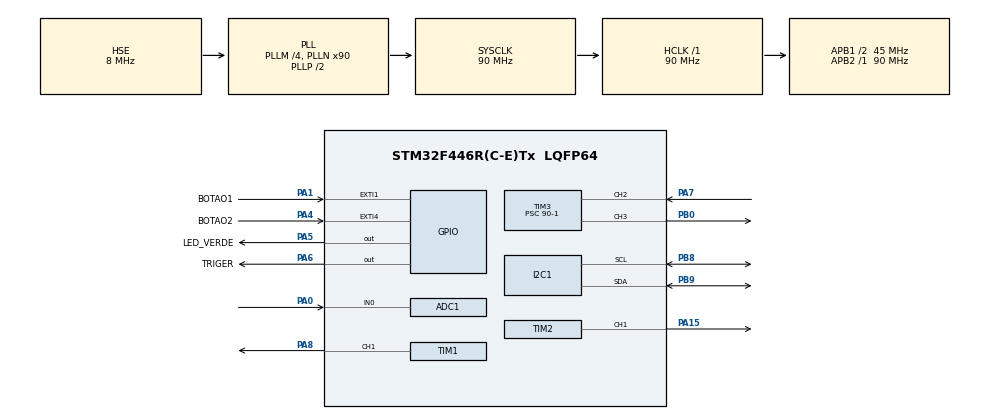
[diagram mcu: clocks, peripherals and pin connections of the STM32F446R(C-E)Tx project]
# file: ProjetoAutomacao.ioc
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ADC1.Channel-0\#ChannelRegularConversion=ADC_CHANNEL_0
ADC1.ContinuousConvMode=ENABLE
ADC1.NbrOfConversionFlag=1
ADC1.Rank-0\#ChannelRegularConversion=1
ADC1.SamplingTime-0\#ChannelRegularConversion=ADC_SAMPLETIME_3CYCLES
ADC1.master=1
I2C1.I2C_Mode=I2C_Fast
Mcu.Family=STM32F4
Mcu.Name=STM32F446R(C-E)Tx
Mcu.Package=LQFP64
NVIC.EXTI1_IRQn=true\:0\:0\:false\:false\:true\:true\:true\:true
NVIC.EXTI4_IRQn=true\:0\:1\:false\:false\:true\:true\:true\:true
NVIC.PriorityGroup=NVIC_PRIORITYGROUP_0
NVIC.RTC_Alarm_IRQn=true\:0\:0\:false\:false\:true\:true\:true\:true
NVIC.TIM2_IRQn=true\:0\:0\:false\:false\:true\:true\:true\:true
NVIC.TIM3_IRQn=true\:0\:0\:false\:false\:true\:true\:true\:true
PA0-WKUP.Signal=ADCx_IN0
PA1.GPIO_Label=BOTAO1
PA1.GPIO_PuPd=GPIO_PULLUP
PA1.Signal=GPXTI1
PA15.Signal=S_TIM2_CH1_ETR
PA4.GPIO_Label=BOTAO2
PA4.GPIO_PuPd=GPIO_PULLUP
PA4.Signal=GPXTI4
PA5.GPIO_Label=LED_VERDE
PA5.Signal=GPIO_Output
PA6.GPIO_Label=TRIGER
PA6.Signal=GPIO_Output
PA7.Signal=S_TIM3_CH2
PA8.Signal=S_TIM1_CH1
PB0.Signal=S_TIM3_CH3
PB8.Mode=I2C
PB8.Signal=I2C1_SCL
PB9.Mode=I2C
PB9.Signal=I2C1_SDA
PC14-OSC32_IN.Mode=LSE-External-Oscillator
PC14-OSC32_IN.Signal=RCC_OSC32_IN
PC15-OSC32_OUT.Mode=LSE-External-Oscillator
PC15-OSC32_OUT.Signal=RCC_OSC32_OUT
PH0-OSC_IN.Mode=HSE-External-Oscillator
PH0-OSC_IN.Signal=RCC_OSC_IN
PH1-OSC_OUT.Mode=HSE-External-Oscillator
PH1-OSC_OUT.Signal=RCC_OSC_OUT
ProjectManager.HeapSize=0x200
ProjectManager.StackSize=0x400
ProjectManager.TargetToolchain=STM32CubeIDE
RCC.48MHZClocksFreq_Value=84000000
RCC.AHBFreq_Value=90000000
RCC.APB1CLKDivider=RCC_HCLK_DIV2
RCC.APB1Freq_Value=45000000
RCC.APB1TimFreq_Value=90000000
RCC.APB2Freq_Value=90000000
RCC.APB2TimFreq_Value=90000000
RCC.CortexFreq_Value=90000000
RCC.FLatency-AdvancedSettings=FLASH_LATENCY_2
RCC.HCLKFreq_Value=90000000
RCC.HSE_VALUE=8000000
RCC.HSI_VALUE=16000000
RCC.PLLM=4
RCC.PLLN=90
RCC.PLLSourceVirtual=RCC_PLLSOURCE_HSE
RCC.RCC_RTC_Clock_SourceVirtual=RCC_RTCCLKSOURCE_LSE
RCC.SYSCLKFreq_VALUE=90000000
RCC.SYSCLKSource=RCC_SYSCLKSOURCE_PLLCLK
RCC.USBFreq_Value=90000000
RCC.VCOOutputFreq_Value=180000000
RTC.Alarm=RTC_ALARM_A
RTC.Date=18
RTC.Format=RTC_FORMAT_BIN
RTC.Hours=19
RTC.Minutes=40
RTC.Month=RTC_MONTH_DECEMBER
RTC.WeekDay=RTC_WEEKDAY_WEDNESDAY
SH.ADCx_IN0.0=ADC1_IN0,IN0
SH.S_TIM1_CH1.0=TIM1_CH1,PWM Generation1 CH1
SH.S_TIM2_CH1_ETR.0=TIM2_CH1,PWM Generation1 CH1
SH.S_TIM3_CH2.0=TIM3_CH2,Input_Capture2_from_TI2
SH.S_TIM3_CH3.0=TIM3_CH3,PWM Generation3 CH3
TIM1.Channel-PWM\ Generation1\ CH1=TIM_CHANNEL_1
TIM1.Period=10000-1
TIM1.Prescaler=180-1
TIM2.Channel-PWM\ Generation1\ CH1=TIM_CHANNEL_1
TIM2.Period=4095
TIM2.Prescaler=90-1
TIM3.Channel-Input_Capture2_from_TI2=TIM_CHANNEL_2
TIM3.Channel-PWM\ Generation3\ CH3=TIM_CHANNEL_3
TIM3.Period=0xffff - 1
TIM3.Prescaler=90-1
TIM3.Pulse-PWM\ Generation3\ CH3=500
VP_RTC_VS_RTC_Activate.Mode=RTC_Enabled
VP_RTC_VS_RTC_Alarm_A_Intern.Mode=Alarm A
VP_RTC_VS_RTC_Calendar.Mode=RTC_Calendar
VP_TIM1_VS_ClockSourceINT.Mode=Internal
VP_TIM2_VS_ClockSourceINT.Mode=Internal
VP_TIM3_VS_ClockSourceINT.Mode=Internal
board=NUCLEO-F446RE

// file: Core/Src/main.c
/* USER CODE BEGIN Header */
/**
  ******************************************************************************
  * @file           : main.c
  * @brief          : Main program body
  ******************************************************************************
  * @attention
  *
  * Copyright (c) 2024 STMicroelectronics.
  * All rights reserved.
  *
  * This software is licensed under terms that can be found in the LICENSE file
  * in the root directory of this software component.
  * If no LICENSE file comes with this software, it is provided AS-IS.
  *
  ******************************************************************************
  */
/* USER CODE END Header */
#include "main.h"
#include "adc.h"
#include "i2c.h"
#include "rtc.h"
#include "tim.h"
#include "gpio.h"

/* USER CODE BEGIN Includes */
#include "button.h"
#include "ssd1306.h"
#include "ssd1306_fonts.h"
#include "ssd1306_tests.h"
#include "servo.h"
#include "bmp280.h"
#include "buzzer.h"
#include "hcsr04.h"
/* USER CODE END Includes */

/* USER CODE BEGIN PV */
uint32_t tom[10] = {400, 450, 285, 285, 400, 450, 285, 285, 500};
uint32_t dura[10] = {188, 188, 188, 188, 188, 188, 188, 188, 188, 188};

BMP280_HandleTypedef bmp280;

float temp = 0, pres = 0, humdt = 0;
int contador = 0;

/* USER CODE END PV */

void SystemClock_Config(void);
/* USER CODE BEGIN PFP */
void menu(int* total_racao);
uint32_t IC_Val1 = 0;
uint32_t IC_Val2 = 0;
uint32_t Difference = 0;
uint8_t Is_First_Captured = 0;  // is the first value captured ?
uint8_t Distance  = 0;
int feed = 0;
/* USER CODE END PFP */

/* USER CODE BEGIN 0 */

int get_total_racao() {
	return (int)(((15.0 - Distance) / 15.0) * 100);
}
/* USER CODE END 0 */

int main(void)
{

  /* MCU Configuration--------------------------------------------------------*/

  /* Reset of all peripherals, Initializes the Flash interface and the Systick. */
  HAL_Init();

  /* Configure the system clock */
  SystemClock_Config();

  /* Initialize all configured peripherals */
  MX_GPIO_Init();
  MX_ADC1_Init();
  MX_I2C1_Init();
  MX_RTC_Init();
  MX_TIM1_Init();
  MX_TIM2_Init();
  MX_TIM3_Init();
  /* USER CODE BEGIN 2 */
  ssd1306_Init();
  bmp280_init_default_params(&bmp280.params);
  bmp280.addr = BMP280_I2C_ADDRESS_0;
  bmp280.i2c = &hi2c1;
  bmp280_init(&bmp280, &bmp280.params);

  HAL_TIM_PWM_Start(&htim1, TIM_CHANNEL_1);

  HAL_TIM_IC_Start_IT(&htim3, TIM_CHANNEL_2);
  HAL_ADC_Start(&hadc1);

  if (HAL_RTCEx_BKUPRead(&hrtc, RTC_BKP_DR1) != 0x2345)
	{
	  set_time(15, 54, 00);
	  set_date(24, 8, 11, 7);
	}
	set_alarm(15, 54, 20, 11);

  /* USER CODE END 2 */

  /* Infinite loop */
  /* USER CODE BEGIN WHILE */
  while (1){

	  bmp280_read_float(&bmp280, &temp, &pres, &humdt);
	  HCSR04_Read();
	  int total_racao = 0;

	  menu(&total_racao);

	  if (feed) {
      HAL_GPIO_WritePin(LED_VERDE_GPIO_Port, LED_VERDE_Pin, GPIO_PIN_SET);
      if (get_total_racao() > 0)
		    ComportaOnOff();
		  HAL_Delay(60);
		  if (get_total_racao() < 15){
			  PlayTone(tom, dura, NULL, 10);
		  }
      HAL_GPIO_WritePin(LED_VERDE_GPIO_Port, LED_VERDE_Pin, GPIO_PIN_RESET);

		  feed = 0;
	  }

//	  PlayTone(tom, dura, NULL, 10);

    /* USER CODE END WHILE */

  }
}

void SystemClock_Config(void)
{
  RCC_OscInitTypeDef RCC_OscInitStruct = {0};
  RCC_ClkInitTypeDef RCC_ClkInitStruct = {0};

  /** Configure the main internal regulator output voltage
  */
  __HAL_RCC_PWR_CLK_ENABLE();
  __HAL_PWR_VOLTAGESCALING_CONFIG(PWR_REGULATOR_VOLTAGE_SCALE3);

  /** Initializes the RCC Oscillators according to the specified parameters
  * in the RCC_OscInitTypeDef structure.
  */
  RCC_OscInitStruct.OscillatorType = RCC_OSCILLATORTYPE_HSE|RCC_OSCILLATORTYPE_LSE;
  RCC_OscInitStruct.HSEState = RCC_HSE_ON;
  RCC_OscInitStruct.LSEState = RCC_LSE_ON;
  RCC_OscInitStruct.PLL.PLLState = RCC_PLL_ON;
  RCC_OscInitStruct.PLL.PLLSource = RCC_PLLSOURCE_HSE;
  RCC_OscInitStruct.PLL.PLLM = 4;
  RCC_OscInitStruct.PLL.PLLN = 90;
  RCC_OscInitStruct.PLL.PLLP = RCC_PLLP_DIV2;
  RCC_OscInitStruct.PLL.PLLQ = 2;
  RCC_OscInitStruct.PLL.PLLR = 2;
  if (HAL_RCC_OscConfig(&RCC_OscInitStruct) != HAL_OK)
  {
    Error_Handler();
  }

  /** Initializes the CPU, AHB and APB buses clocks
  */
  RCC_ClkInitStruct.ClockType = RCC_CLOCKTYPE_HCLK|RCC_CLOCKTYPE_SYSCLK
                              |RCC_CLOCKTYPE_PCLK1|RCC_CLOCKTYPE_PCLK2;
  RCC_ClkInitStruct.SYSCLKSource = RCC_SYSCLKSOURCE_PLLCLK;
  RCC_ClkInitStruct.AHBCLKDivider = RCC_SYSCLK_DIV1;
  RCC_ClkInitStruct.APB1CLKDivider = RCC_HCLK_DIV2;
  RCC_ClkInitStruct.APB2CLKDivider = RCC_HCLK_DIV1;

  if (HAL_RCC_ClockConfig(&RCC_ClkInitStruct, FLASH_LATENCY_2) != HAL_OK)
  {
    Error_Handler();
  }
}

/* USER CODE BEGIN 4 */

void menu(int* total_racao) {
	switch(contador){
			  case 0:{
				  oled_print(temp,  "Temperatura: %d C", 0, 0);
				  oled_print(pres,  "Pressao: %d Pa", 0, 14);

				  if (Distance > 15) {
					  *total_racao = 0;
				  }
				  else {
					  *total_racao = (int)(((15.0 - Distance) / 15.0) * 100);
				  }

				  oled_print(*total_racao, "Racao: %d \%", 0, 26);
				  break;

			  }
			  case 1:{
				  oled_print(temp,  "Temperatura: %d C", 0, 0);
				  break;
			  }
			  case 2:{
				  if (Distance > 15) {
					  *total_racao = 0;
				  }
				  else {
					  *total_racao = get_total_racao();
				  }

				  oled_print(*total_racao, "Racao: %d \%", 0, 0);
				  break;

			  }
			  default:{
				  // Pressao
				  oled_print(pres,  "Pressao: %d Pa", 0, 0);
				  break;

			  }
		  }
}
void HAL_GPIO_EXTI_Callback(uint16_t GPIO_Pin){
	if(GPIO_Pin == GPIO_PIN_1)
	{
		feed = 1;
	}

	if(GPIO_Pin == GPIO_PIN_4)
	{
		clean();
		if (contador > 3)
			contador = 0;
		else
			contador++;
	}
}

void HAL_RTC_AlarmAEventCallback(RTC_HandleTypeDef *hrtc)
{
	feed = 1;
}

void HAL_TIM_IC_CaptureCallback(TIM_HandleTypeDef *htim)
{
	if (htim->Channel == HAL_TIM_ACTIVE_CHANNEL_2)  // if the interrupt source is channel1
	{
		if (Is_First_Captured == 0) // if the first value is not captured
		{
			IC_Val1 = HAL_TIM_ReadCapturedValue(htim, TIM_CHANNEL_2); // read the first value
			Is_First_Captured = 1;  // set the first captured as true
			// Now change the polarity to falling edge
			__HAL_TIM_SET_CAPTUREPOLARITY(htim, TIM_CHANNEL_2, TIM_INPUTCHANNELPOLARITY_FALLING);
		}

		else if (Is_First_Captured == 1)   // if the first is already captured
		{
			IC_Val2 = HAL_TIM_ReadCapturedValue(htim, TIM_CHANNEL_2);  // read second value
			__HAL_TIM_SET_COUNTER(htim, 0);  // reset the counter

			if (IC_Val2 > IC_Val1)
			{
				Difference = IC_Val2 - IC_Val1;
			}

			else if (IC_Val1 > IC_Val2)
			{
				Difference = (0xffff - IC_Val1) + IC_Val2;
			}

			Distance = Difference * .034/2;
			Is_First_Captured = 0; // set it back to false

			// set polarity to rising edge
			__HAL_TIM_SET_CAPTUREPOLARITY(htim, TIM_CHANNEL_2, TIM_INPUTCHANNELPOLARITY_RISING);
			__HAL_TIM_DISABLE_IT(&htim3, TIM_IT_CC2);
		}
	}
}

/* USER CODE END 4 */

void Error_Handler(void)
{
  __disable_irq();
  while (1)
  {
  }
}
